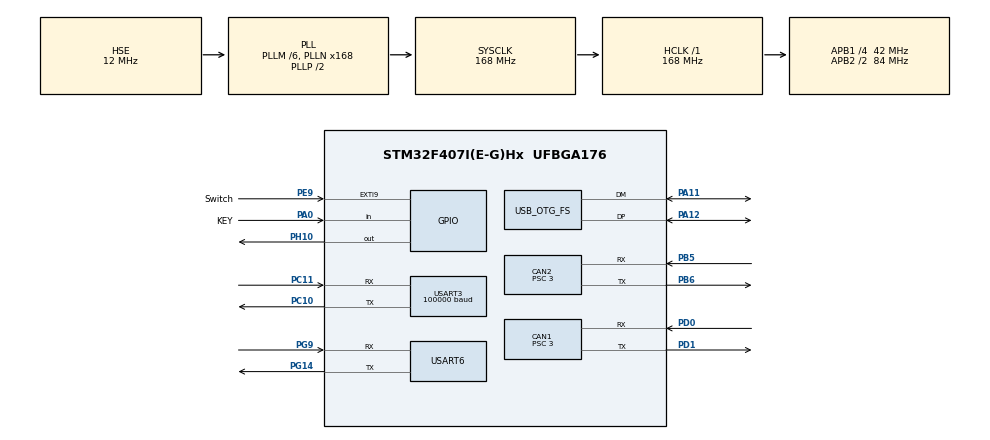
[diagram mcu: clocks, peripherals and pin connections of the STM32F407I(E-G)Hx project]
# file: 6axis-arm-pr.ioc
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CAN1.AWUM=ENABLE
CAN1.BS1=CAN_BS1_10TQ
CAN1.BS2=CAN_BS2_3TQ
CAN1.CalculateBaudRate=1000000
CAN1.CalculateTimeBit=1000
CAN1.CalculateTimeQuantum=71.42857142857143
CAN1.NART=ENABLE
CAN1.Prescaler=3
CAN2.AWUM=ENABLE
CAN2.BS1=CAN_BS1_10TQ
CAN2.BS2=CAN_BS2_3TQ
CAN2.CalculateBaudRate=1000000
CAN2.CalculateTimeBit=1000
CAN2.CalculateTimeQuantum=71.42857142857143
CAN2.NART=ENABLE
CAN2.Prescaler=3
Dma.Request0=USART3_RX
Dma.Request1=USART6_RX
Dma.USART3_RX.0.Direction=DMA_PERIPH_TO_MEMORY
Dma.USART3_RX.0.FIFOMode=DMA_FIFOMODE_DISABLE
Dma.USART3_RX.0.Instance=DMA1_Stream1
Dma.USART3_RX.0.MemDataAlignment=DMA_MDATAALIGN_BYTE
Dma.USART3_RX.0.MemInc=DMA_MINC_ENABLE
Dma.USART3_RX.0.Mode=DMA_CIRCULAR
Dma.USART3_RX.0.PeriphDataAlignment=DMA_PDATAALIGN_BYTE
Dma.USART3_RX.0.PeriphInc=DMA_PINC_DISABLE
Dma.USART3_RX.0.Priority=DMA_PRIORITY_VERY_HIGH
Dma.USART6_RX.1.Direction=DMA_PERIPH_TO_MEMORY
Dma.USART6_RX.1.FIFOMode=DMA_FIFOMODE_DISABLE
Dma.USART6_RX.1.Instance=DMA2_Stream1
Dma.USART6_RX.1.MemDataAlignment=DMA_MDATAALIGN_BYTE
Dma.USART6_RX.1.MemInc=DMA_MINC_ENABLE
Dma.USART6_RX.1.Mode=DMA_CIRCULAR
Dma.USART6_RX.1.PeriphDataAlignment=DMA_PDATAALIGN_BYTE
Dma.USART6_RX.1.PeriphInc=DMA_PINC_DISABLE
Dma.USART6_RX.1.Priority=DMA_PRIORITY_HIGH
Mcu.Family=STM32F4
Mcu.Name=STM32F407I(E-G)Hx
Mcu.Package=UFBGA176
NVIC.CAN1_RX0_IRQn=true\:0\:0\:false\:false\:true\:true\:true\:true
NVIC.CAN2_RX1_IRQn=true\:0\:0\:false\:false\:true\:true\:true\:true
NVIC.DMA1_Stream1_IRQn=true\:0\:0\:false\:false\:true\:false\:true\:true
NVIC.DMA2_Stream1_IRQn=true\:0\:0\:false\:false\:true\:false\:true\:true
NVIC.EXTI9_5_IRQn=true\:0\:0\:false\:false\:true\:true\:true\:true
NVIC.OTG_FS_IRQn=true\:0\:0\:false\:false\:true\:true\:true\:true
NVIC.PriorityGroup=NVIC_PRIORITYGROUP_4
NVIC.TIM2_IRQn=true\:1\:0\:true\:false\:true\:true\:true\:true
NVIC.TIM5_IRQn=true\:0\:0\:false\:false\:true\:true\:true\:true
NVIC.USART3_IRQn=true\:0\:0\:false\:false\:true\:true\:true\:true
NVIC.USART6_IRQn=true\:0\:0\:false\:false\:true\:true\:true\:true
PA0-WKUP.GPIO_Label=KEY
PA0-WKUP.GPIO_PuPd=GPIO_PULLUP
PA0-WKUP.Signal=GPIO_Input
PA11.Mode=Device_Only
PA11.Signal=USB_OTG_FS_DM
PA12.Mode=Device_Only
PA12.Signal=USB_OTG_FS_DP
PA13.Mode=Serial_Wire
PA13.Signal=SYS_JTMS-SWDIO
PA14.Mode=Serial_Wire
PA14.Signal=SYS_JTCK-SWCLK
PB5.Mode=CAN_Activate
PB5.Signal=CAN2_RX
PB6.Mode=CAN_Activate
PB6.Signal=CAN2_TX
PC10.Mode=Asynchronous
PC10.Signal=USART3_TX
PC11.Mode=Asynchronous
PC11.Signal=USART3_RX
PC14-OSC32_IN.Mode=LSE-External-Oscillator
PC14-OSC32_IN.Signal=RCC_OSC32_IN
PC15-OSC32_OUT.Mode=LSE-External-Oscillator
PC15-OSC32_OUT.Signal=RCC_OSC32_OUT
PD0.Mode=CAN_Activate
PD0.Signal=CAN1_RX
PD1.Mode=CAN_Activate
PD1.Signal=CAN1_TX
PE9.GPIO_Label=Switch
PE9.GPIO_ModeDefaultEXTI=GPIO_MODE_IT_RISING_FALLING
PE9.GPIO_PuPd=GPIO_PULLUP
PE9.Signal=GPXTI9
PG14.Mode=Asynchronous
PG14.Signal=USART6_TX
PG9.Mode=Asynchronous
PG9.Signal=USART6_RX
PH0-OSC_IN.Mode=HSE-External-Oscillator
PH0-OSC_IN.Signal=RCC_OSC_IN
PH1-OSC_OUT.Mode=HSE-External-Oscillator
PH1-OSC_OUT.Signal=RCC_OSC_OUT
PH10.Signal=GPIO_Output
ProjectManager.HeapSize=0x200
ProjectManager.StackSize=0x400
ProjectManager.TargetToolchain=STM32CubeIDE
RCC.48MHZClocksFreq_Value=48000000
RCC.AHBFreq_Value=168000000
RCC.APB1CLKDivider=RCC_HCLK_DIV4
RCC.APB1Freq_Value=42000000
RCC.APB1TimFreq_Value=84000000
RCC.APB2CLKDivider=RCC_HCLK_DIV2
RCC.APB2Freq_Value=84000000
RCC.APB2TimFreq_Value=168000000
RCC.CortexFreq_Value=168000000
RCC.HCLKFreq_Value=168000000
RCC.HSE_VALUE=12000000
RCC.HSI_VALUE=16000000
RCC.PLLM=6
RCC.PLLN=168
RCC.PLLQ=7
RCC.SYSCLKFreq_VALUE=168000000
RCC.SYSCLKSource=RCC_SYSCLKSOURCE_PLLCLK
RCC.VCOOutputFreq_Value=336000000
TIM1.Period=100-1
TIM1.Prescaler=16800-1
TIM2.Period=50000-1
TIM2.Prescaler=84-1
TIM5.Period=1000-1
TIM5.Prescaler=84-1
USART3.BaudRate=100000
USART3.Parity=PARITY_NONE
USART3.VirtualMode=VM_ASYNC
USART3.WordLength=WORDLENGTH_9B
USART6.VirtualMode=VM_ASYNC
USB_DEVICE.CLASS_NAME_FS=CDC
USB_DEVICE.MANUFACTURER_STRING-CDC_FS=Lampbot
USB_DEVICE.PRODUCT_STRING_CDC_FS=Lampbot Virtual ComPort
USB_DEVICE.VirtualMode-CDC_FS=Cdc
USB_DEVICE.VirtualModeFS=Cdc_FS
USB_OTG_FS.VirtualMode=Device_Only
VP_TIM1_VS_ClockSourceINT.Mode=Internal
VP_TIM2_VS_ClockSourceINT.Mode=Internal
VP_TIM5_VS_ClockSourceINT.Mode=Internal
VP_USB_DEVICE_VS_USB_DEVICE_CDC_FS.Mode=CDC_FS
board=custom

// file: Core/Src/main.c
/* USER CODE BEGIN Header */
/**
  ******************************************************************************
  * @file           : main.c
  * @brief          : Main program body
  ******************************************************************************
  * @attention
  *
  * Copyright (c) 2025 STMicroelectronics.
  * All rights reserved.
  *
  * This software is licensed under terms that can be found in the LICENSE file
  * in the root directory of this software component.
  * If no LICENSE file comes with this software, it is provided AS-IS.
  *
  ******************************************************************************
  */
/* USER CODE END Header */
#include "main.h"
#include "can.h"
#include "dma.h"
#include "tim.h"
#include "usart.h"
#include "usb_device.h"
#include "gpio.h"

/* USER CODE BEGIN Includes */
#include "remote.h"
#include "Communications.h"
#include "Arm.h"
#include "PID.h"
#include "Arm_Calc.h"
#include "DM4310.h"
#include "M2006.h"
#include "USB_task.h"
/* USER CODE END Includes */

/* USER CODE BEGIN PTD */

extern RC_t RC;
extern Light_TypeDef light1;
extern Arm_Params_t Arm_params;

extern PID_Param PID_Speed_M2006_1;
extern PID_Param PID_Angle_M2006_1;

extern int32_t angle;
extern int32_t last_angle;

extern double Pos[4];
extern uint8_t RC_Data[18];
extern uint8_t voice_data[5];
extern int16_t M2006_Max_Vel;
uint8_t Enable_flag = 0;
uint8_t Switch_flag = 0;
extern double Arm_params_input[4];

extern DM4310_HandleTypeDef DM4310_1;
extern DM4310_HandleTypeDef DM4310_2;
extern DM4310_HandleTypeDef DM4310_3;
extern M2006_HandleTypeDef M2006_1;

extern uint16_t Temperature;
extern uint16_t Light;
extern uint8_t Calculatable;

extern Command_FIFO cmd_FIFO;; // 命令消息队列

void HAL_TIM_PeriodElapsedCallback(TIM_HandleTypeDef* htim) {
    //TIM5负责处理M2006的位置环PID
    if (htim == &htim5) {
        M2006_Angel(Pos[3], M2006_Max_Vel);
    }
    //TIM2负责处理机械臂解�?????????? 20Hz 抢占优先级低
    if (htim == &htim2) {
        // USB_Task();
        Calculatable = Arm_Calculate(Arm_params_input[0], Arm_params_input[1], Arm_params_input[2], &Arm_params);
    }
}

void HAL_GPIO_EXTI_Callback(uint16_t GPIO_Pin) {
    if (GPIO_Pin == GPIO_PIN_9) {
        //拨动开关
        if (HAL_GPIO_ReadPin(GPIOE,GPIO_PIN_9) == GPIO_PIN_SET) {
            Switch_flag = 0;
        }
        else if (HAL_GPIO_ReadPin(GPIOE,GPIO_PIN_9) == GPIO_PIN_RESET) {
            Switch_flag = 1;
        }
    }
}

/* USER CODE END PTD */

void SystemClock_Config(void);

int main(void) {

    /* MCU Configuration--------------------------------------------------------*/

    /* Reset of all peripherals, Initializes the Flash interface and the Systick. */
    HAL_Init();

    /* Configure the system clock */
    SystemClock_Config();

    /* Initialize all configured peripherals */
    MX_GPIO_Init();
    MX_DMA_Init();
    MX_TIM1_Init();
    MX_USART3_UART_Init();
    MX_CAN1_Init();
    MX_CAN2_Init();
    MX_TIM5_Init();
    MX_USB_DEVICE_Init();
    MX_TIM2_Init();
    MX_USART6_UART_Init();
    /* USER CODE BEGIN 2 */
    USBData_init();
    DM4310_Init(&DM4310_1, &hcan1, 1, DM_CtrlMode_SpeedPosition);
    DM4310_Init(&DM4310_2, &hcan1, 2, DM_CtrlMode_SpeedPosition);
    DM4310_Init(&DM4310_3, &hcan1, 3, DM_CtrlMode_SpeedPosition);
    M2006_Init(&M2006_1, &hcan1, 1);
    can_filter_init();
    Light_Init(&light1, &hcan1);
    HAL_UART_Receive_DMA(&huart3, RC_Data, sizeof(RC_Data));
    HAL_UARTEx_ReceiveToIdle_DMA(&huart6, voice_data, sizeof(voice_data));
    // Arm_Switch_Init();

    HAL_TIM_Base_Start_IT(&htim2);
    /* USER CODE END 2 */

    /* Infinite loop */
    /* USER CODE BEGIN WHILE */
    // ReSharper disable once CppDFAEndlessLoop
    while (1) {

        USB_Task();

        if (Switch_flag == 1) {
            if (Enable_flag == 0) {
                Arm_Start();
            }

            Arm_Task();
        }
        else if (Switch_flag == 0) {
            if (Enable_flag == 1) {
                if (RC.s1 == 2) {
                    Arm_Quick_Off();
                }
                else {
                    Arm_Off();
                }
            }
        }
        // Arm_Book_Follow();
        HAL_Delay(50);
        /* USER CODE END WHILE */

    }
}

void SystemClock_Config(void) {
    RCC_OscInitTypeDef RCC_OscInitStruct = {0};
    RCC_ClkInitTypeDef RCC_ClkInitStruct = {0};

    /** Configure the main internal regulator output voltage
    */
    __HAL_RCC_PWR_CLK_ENABLE();
    __HAL_PWR_VOLTAGESCALING_CONFIG(PWR_REGULATOR_VOLTAGE_SCALE1);

    /** Initializes the RCC Oscillators according to the specified parameters
    * in the RCC_OscInitTypeDef structure.
    */
    RCC_OscInitStruct.OscillatorType = RCC_OSCILLATORTYPE_HSE;
    RCC_OscInitStruct.HSEState = RCC_HSE_ON;
    RCC_OscInitStruct.PLL.PLLState = RCC_PLL_ON;
    RCC_OscInitStruct.PLL.PLLSource = RCC_PLLSOURCE_HSE;
    RCC_OscInitStruct.PLL.PLLM = 6;
    RCC_OscInitStruct.PLL.PLLN = 168;
    RCC_OscInitStruct.PLL.PLLP = RCC_PLLP_DIV2;
    RCC_OscInitStruct.PLL.PLLQ = 7;
    if (HAL_RCC_OscConfig(&RCC_OscInitStruct) != HAL_OK) {
        Error_Handler();
    }

    /** Initializes the CPU, AHB and APB buses clocks
    */
    RCC_ClkInitStruct.ClockType = RCC_CLOCKTYPE_HCLK | RCC_CLOCKTYPE_SYSCLK
        | RCC_CLOCKTYPE_PCLK1 | RCC_CLOCKTYPE_PCLK2;
    RCC_ClkInitStruct.SYSCLKSource = RCC_SYSCLKSOURCE_PLLCLK;
    RCC_ClkInitStruct.AHBCLKDivider = RCC_SYSCLK_DIV1;
    RCC_ClkInitStruct.APB1CLKDivider = RCC_HCLK_DIV4;
    RCC_ClkInitStruct.APB2CLKDivider = RCC_HCLK_DIV2;

    if (HAL_RCC_ClockConfig(&RCC_ClkInitStruct, FLASH_LATENCY_5) != HAL_OK) {
        Error_Handler();
    }
}

void Error_Handler(void) {
    __disable_irq();
    while (1) {
    }
}
